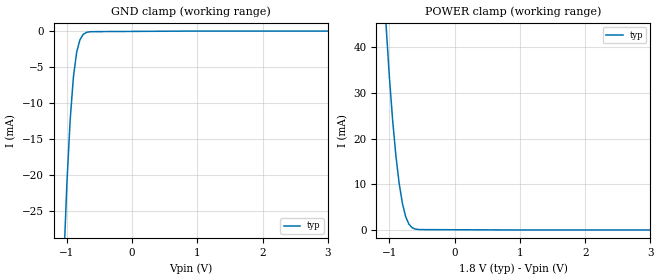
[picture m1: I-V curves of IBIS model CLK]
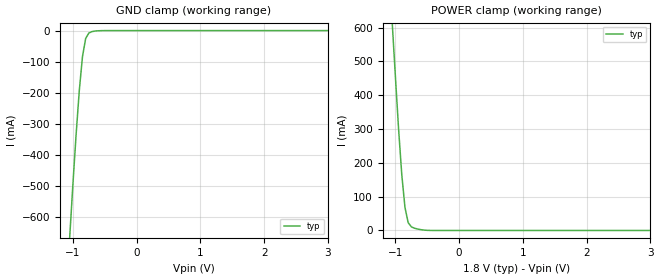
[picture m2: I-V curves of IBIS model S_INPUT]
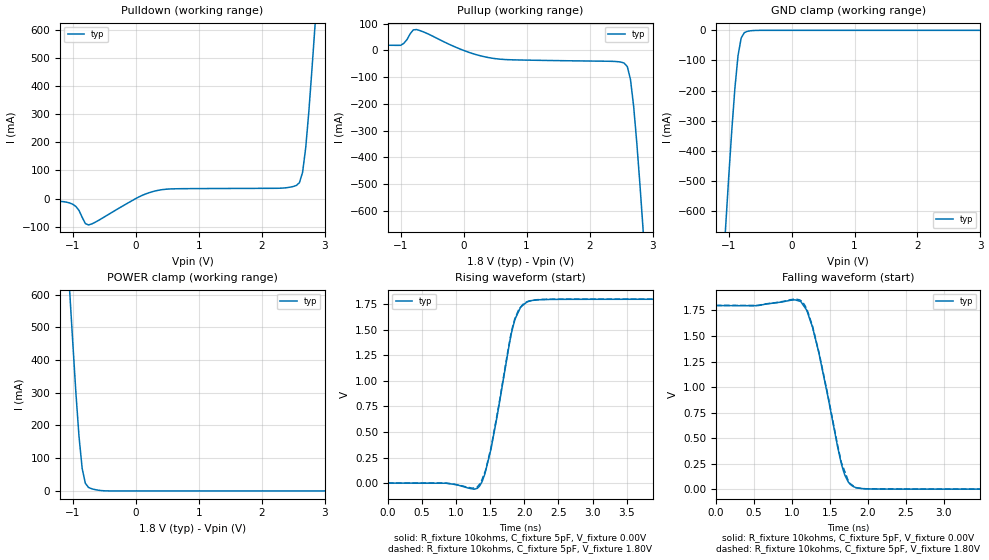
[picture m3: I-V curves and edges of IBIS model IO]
|   This file is an IBIS representation of the   |
|   Analog Devices   |
|   AD9284 (valid for all speeds)   |
|============================== Header Section ================================|
[IBIS Ver]   4.0
[Comment Char] |_char
[File Name]   ad9284.ibs
[File Rev]   1.0
[Source]   This file originated at Analog Devices Inc. [AA & KS]
[Date]   09-22-2011
[Notes]   Quality Check Passes IBIS Checker.
[Disclaimer]
|   This IBIS model is provided "AS IS, WHERE IS, AND WITH NO
|   WARRANTY OF ANY KINND EITHER EXPRESSED OR IMPLIED, INCLUDING
|   BUT NOT LIMITED TO ANY IMPLIED WARRANTIES OF MECHANTABILITY
|   AND FITNESS FOR A PARTICULAR PURPOSE."
|   In no event will Analog Devices Inc. be liable for special, collateral,
|   incidental, or consequential damages in connection with or arising out
|   of the use of this IBIS model. Analog Devices Inc. reserves the right
|   to make changes to the products and IBIS models without prior notice.
[Copyright]   Copyright (c) 2011 Analog Devices Inc., All rights reserved.
[Component]   AD9284
[Manufacturer]  Analog Devices Inc.
[Package]
| VARIABLE   TYP   MIN   MAX
R_pkg   0.01ohms   NA   NA
L_pkg   1.00nH   NA   NA
C_pkg   0.28pF   NA   NA
[Pin]   signal_name   model_name   R_pin   L_pin   C_pin
0   AGND   GND   NA   NA   NA   |ANALOG GND PADDLE
1   AVDD   POWER   NA   NA   NA
2   AVDD   POWER   NA   NA   NA
3   DNC   NC   NA   NA   NA
4   DNC   NC   NA   NA   NA
5   RBIAS   NC   NA   NA   NA
6   DNC   NC   NA   NA   NA
7   DRGND   GND   NA   NA   NA
8   DRVDD   POWER   NA   NA   NA
9   D0-   LVDS_OUTPUT   NA   NA   NA
10   D0+   LVDS_OUTPUT   NA   NA   NA
11   D1-   LVDS_OUTPUT   NA   NA   NA
12   D1+   LVDS_OUTPUT   NA   NA   NA
13   D2-   LVDS_OUTPUT   NA   NA   NA
14   D2+   LVDS_OUTPUT   NA   NA   NA
15   D3-   LVDS_OUTPUT   NA   NA   NA
16   D3+   LVDS_OUTPUT   NA   NA   NA
17   DCO-   LVDS_OUTPUT   NA   NA   NA
18   DCO+   LVDS_OUTPUT   NA   NA   NA
19   D4-   LVDS_OUTPUT   NA   NA   NA
20   D4+   LVDS_OUTPUT   NA   NA   NA
21   D5-   LVDS_OUTPUT   NA   NA   NA
22   D5+   LVDS_OUTPUT   NA   NA   NA
23   D6-   LVDS_OUTPUT   NA   NA   NA
24   D6+   LVDS_OUTPUT   NA   NA   NA
25   D7-   LVDS_OUTPUT   NA   NA   NA
26   D7+   LVDS_OUTPUT   NA   NA   NA
27   DRVDD   POWER   NA   NA   NA
28   DRGND   GND   NA   NA   NA
29   OEB   INPUT1   NA   NA   NA
30   SCLK   S_INPUT   NA   NA   NA
31   SDIO_PD   IO   NA   NA   NA
32   CSB   S_INPUT   NA   NA   NA
33   CLK-   CLK   NA   NA   NA
34   CLK+   CLK   NA   NA   NA
35   AVDD   POWER   NA   NA   NA
36   AVDD   POWER   NA   NA   NA
37   AVDD   POWER   NA   NA   NA
38   VIN-A   NC   NA   NA   NA
39   VIN+A   NC   NA   NA   NA
40   AVDD   POWER   NA   NA   NA
41   VCM   NC   NA   NA   NA
42   AVDD   POWER   NA   NA   NA
43   VREF   NC   NA   NA   NA
44   AVDD   POWER   NA   NA   NA
45   AVDD   POWER   NA   NA   NA
46   VIN+B   NC   NA   NA   NA
47   VIN-B   NC   NA   NA   NA
48   AVDD   POWER   NA   NA   NA
[Diff Pin]  inv_pin  vdiff  tdelay_typ  tdelay_min  tdelay_max
10   9   NA   NA   NA   NA
12   11   NA   NA   NA   NA
14   13   NA   NA   NA   NA
16   15   NA   NA   NA   NA
18   17   NA   NA   NA   NA
20   19   NA   NA   NA   NA
22   21   NA   NA   NA   NA
24   23   NA   NA   NA   NA
26   25   NA   NA   NA   NA
|   END COMPONENT DESCRIPTION   |
| Models and submodels in the file (5): CLK (Input), S_INPUT (Input), IO (I/O), INPUT1 (Input), LVDS_OUTPUT (Output)
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|   MODELS   |
|   CLK MODEL   |
[MODEL] CLK
Model_type   Input
Vinl   = 1.025
Vinh   = 1.375
C_comp   7.3pF NA NA
| VARIABLE   TYP   MIN   MAX
[Voltage Range]   1.800V   NA   NA
[GND Clamp Reference]   0.000V   NA   NA
[POWER Clamp Reference]   1.800V   NA   NA
[Temperature Range]   25   NA   NA
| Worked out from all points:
|   GND clamp passes 1 mA (typ) near -0.79 V on its own axis
|   POWER clamp passes 1 mA (typ) near -0.68 V on its own axis
[GND Clamp]
| Voltage   I(typ)   I(min)  I(max)
-1.8V     -310.6mA   NA         NA
-1.05V    -32.84mA   NA         NA
-1V       -21.32mA   NA         NA
-950mV    -12.42mA   NA         NA
-900mV    -6.408mA   NA         NA
-850mV    -2.939mA   NA         NA
-800mV    -1.212mA   NA         NA
-750mV    -457uA     NA         NA
-700mV    -179uA     NA         NA
-550mV    -75uA      NA         NA
800mV     -3uA       NA         NA
3.6V      0A         NA         NA
[POWER Clamp]
| Voltage   I(typ)   I(min)  I(max)
-1.8V     372.4mA    NA         NA
-1.05V    44.66mA    NA         NA
-1V       33.48mA    NA         NA
-950mV    23.99mA    NA         NA
-900mV    16.22mA    NA         NA
-850mV    10.17mA    NA         NA
-800mV    5.781mA    NA         NA
-750mV    2.897mA    NA         NA
-700mV    1.254mA    NA         NA
-650mV    476uA      NA         NA
-500mV    79uA       NA         NA
3.6V      0A         NA         NA
|   S_INPUT MODEL
[MODEL] S_INPUT
Model_type   Input
Vinl   =   0.8
Vinh   =   1.2
C_comp   3pF NA NA
| VARIABLE   TYP   MIN   MAX
[Voltage Range]   1.800V   NA   NA
[GND Clamp Reference]   0.000V   NA   NA
[POWER Clamp Reference]   1.800V   NA   NA
[Temperature Range]   25   NA   NA
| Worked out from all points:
|   GND clamp passes 1 mA (typ) near -0.62 V on its own axis
|   POWER clamp passes 1 mA (typ) near -0.54 V on its own axis
[GND Clamp]
| Voltage   I(typ)   I(min)  I(max)
-1.8V     -3.394A    NA         NA
-1.05V    -663.6mA   NA         NA
-1V       -494.3mA   NA         NA
-950mV    -335mA     NA         NA
-900mV    -193.2mA   NA         NA
-850mV    -83.91mA   NA         NA
-800mV    -25.51mA   NA         NA
-750mV    -7.762mA   NA         NA
-650mV    -1.449mA   NA         NA
-500mV    -73uA      NA         NA
3.6V      0A         NA         NA
[POWER Clamp]
| Voltage   I(typ)   I(min)  I(max)
-1.8V     3.006A     NA         NA
-1.05V    614.3mA    NA         NA
-1V       455mA      NA         NA
-950mV    299.9mA    NA         NA
-900mV    165.1mA    NA         NA
-850mV    68.21mA    NA         NA
-800mV    23.33mA    NA         NA
-750mV    10.74mA    NA         NA
-600mV    2.387mA    NA         NA
-450mV    121uA      NA         NA
3.6V      0A         NA         NA
|   IO MODEL   |
[MODEL] IO
Model_type   I/O
Vinl   =   0.8
Vinh   =   1.2
C_comp   3pF NA NA
Cref  =   5.0pF
Rref  =   10KOhm
Vref  =   0.9V
Vmeas =   0.9V
| VARIABLE   TYP   MIN   MAX
[Voltage Range]   1.800V   NA   NA
[GND Clamp Reference]   0.000V   NA   NA
[POWER Clamp Reference]   1.800V   NA   NA
[PULLDOWN Reference]   0.000V   NA   NA
[PULLUP Reference]   1.800V   NA   NA
[Temperature Range]   25   NA   NA
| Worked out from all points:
|   slope of the pulldown table from 0 to 0.27 V, typ, clamps not added: 10.9 ohm
|   slope of the pullup table from 0 to 0.27 V, typ, clamps not added: 13.3 ohm
|   GND clamp passes 1 mA (typ) near -0.62 V on its own axis
|   POWER clamp passes 1 mA (typ) near -0.54 V on its own axis
|   rising waveform, R_fixture 10kohms, C_fixture 5pF, V_fixture 0.00V: 20-80 % time 284ps typ, NA min, NA max; typ from 0 V to 1.8 V
|   rising waveform, R_fixture 10kohms, C_fixture 5pF, V_fixture 1.80V: 20-80 % time 283ps typ, NA min, NA max; typ from 0.001 V to 1.8 V
|   falling waveform, R_fixture 10kohms, C_fixture 5pF, V_fixture 0.00V: 20-80 % time 297ps typ, NA min, NA max; typ from 1.8 V to 0 V
|   falling waveform, R_fixture 10kohms, C_fixture 5pF, V_fixture 1.80V: 20-80 % time 298ps typ, NA min, NA max; typ from 1.8 V to 0.001 V
[GND Clamp]
| Voltage   I(typ)   I(min)  I(max)
-1.8V     -3.394A    NA         NA
-1.05V    -663.6mA   NA         NA
-1V       -494.3mA   NA         NA
-950mV    -335mA     NA         NA
-900mV    -193.2mA   NA         NA
-850mV    -83.91mA   NA         NA
-800mV    -25.51mA   NA         NA
-750mV    -7.762mA   NA         NA
-650mV    -1.449mA   NA         NA
-500mV    -73uA      NA         NA
3.6V      0A         NA         NA
[POWER Clamp]
| Voltage   I(typ)   I(min)  I(max)
-1.8V     3.006A     NA         NA
-1.05V    614.3mA    NA         NA
-1V       455mA      NA         NA
-950mV    299.9mA    NA         NA
-900mV    165.1mA    NA         NA
-850mV    68.21mA    NA         NA
-800mV    23.33mA    NA         NA
-750mV    10.74mA    NA         NA
-600mV    2.387mA    NA         NA
-450mV    121uA      NA         NA
3.6V      0A         NA         NA
[Pulldown]
| Voltage   I(typ)   I(min)  I(max)
-1.8V     -9.379mA   NA         NA
-1.05V    -15.4mA    NA         NA
-950mV    -27.9mA    NA         NA
-800mV    -88.63mA   NA         NA
-750mV    -93.48mA   NA         NA
350mV     29.15mA    NA         NA
2.55V     46.55mA    NA         NA
2.6V      56.44mA    NA         NA
2.65V     92.99mA    NA         NA
2.7V      180.6mA    NA         NA
2.85V     621.8mA    NA         NA
3.6V      3.013A     NA         NA
[Pullup]
| Voltage   I(typ)   I(min)  I(max)
-1.8V     21.04mA    NA         NA
-1V       19.14mA    NA         NA
-750mV    78.08mA    NA         NA
0V        0A         NA         NA
450mV     -28.99mA   NA         NA
2.55V     -47.45mA   NA         NA
2.6V      -60.81mA   NA         NA
2.65V     -108.7mA   NA         NA
2.7V      -208.6mA   NA         NA
2.75V     -345.3mA   NA         NA
2.85V     -669.4mA   NA         NA
3.6V      -3.398A    NA         NA
[Rising Waveform]
R_fixture = 10kohms
C_fixture = 5pF
V_fixture = 0.00V
| Time   V(typ)   V(min)  V(max)
0s        0V         NA         NA
850ps     -1.034mV   NA         NA
1.26ns    -59.16mV   NA         NA
1.34ns    -31.08mV   NA         NA
1.42ns    88.85mV    NA         NA
1.51ns    332mV      NA         NA
1.82ns    1.496V     NA         NA
1.94ns    1.714V     NA         NA
2.04ns    1.773V     NA         NA
5ns       1.798V     NA         NA
[Rising Waveform]
R_fixture = 10kohms
C_fixture = 5pF
V_fixture = 1.80V
| Time   V(typ)   V(min)  V(max)
0s        1.404mV    NA         NA
850ps     336uV      NA         NA
1.24ns    -49.04mV   NA         NA
1.36ns    1.732mV    NA         NA
1.43ns    124.2mV    NA         NA
1.51ns    344.9mV    NA         NA
1.83ns    1.537V     NA         NA
1.92ns    1.7V       NA         NA
2.02ns    1.767V     NA         NA
5ns       1.8V       NA         NA
[Falling Waveform]
R_fixture = 10kohms
C_fixture = 5pF
V_fixture = 0.00V
| Time   V(typ)   V(min)  V(max)
0s        1.798V     NA         NA
1.04ns    1.855V     NA         NA
1.12ns    1.833V     NA         NA
1.2ns     1.74V      NA         NA
1.27ns    1.587V     NA         NA
1.34ns    1.379V     NA         NA
1.65ns    246.7mV    NA         NA
1.74ns    72.12mV    NA         NA
1.81ns    24.78mV    NA         NA
5ns       12uV       NA         NA
[Falling Waveform]
R_fixture = 10kohms
C_fixture = 5pF
V_fixture = 1.80V
| Time   V(typ)   V(min)  V(max)
0s        1.8V       NA         NA
560ps     1.801V     NA         NA
1.05ns    1.862V     NA         NA
1.14ns    1.832V     NA         NA
1.26ns    1.621V     NA         NA
1.35ns    1.358V     NA         NA
1.65ns    260.9mV    NA         NA
1.75ns    63.66mV    NA         NA
1.84ns    15.04mV    NA         NA
5ns       1.421mV    NA         NA
[Ramp]
| Edge   TYP   MIN   MAX
dV/dt_r   1.0984/0.29ns  NA   NA
dV/dt_f   1.1124/0.31ns  NA   NA
R_load  =   10kOhms
|   END IO MODEL   |
